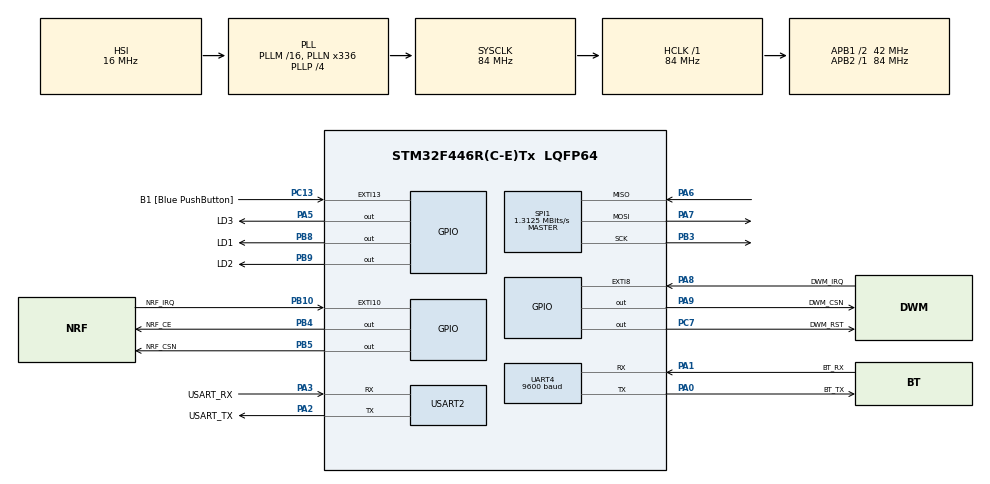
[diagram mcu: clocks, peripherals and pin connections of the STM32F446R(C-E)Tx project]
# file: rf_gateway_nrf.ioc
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Mcu.Family=STM32F4
Mcu.Name=STM32F446R(C-E)Tx
Mcu.Package=LQFP64
NVIC.PriorityGroup=NVIC_PRIORITYGROUP_0
NVIC.SPI1_IRQn=true\:0\:0\:false\:false\:true\:true\:true\:true
NVIC.UART4_IRQn=true\:0\:0\:false\:false\:true\:true\:true\:true
NVIC.USART2_IRQn=true\:0\:0\:false\:false\:true\:true\:true\:true
PA0-WKUP.GPIO_Label=BT_TX
PA0-WKUP.Mode=Asynchronous
PA0-WKUP.Signal=UART4_TX
PA1.GPIO_Label=BT_RX
PA1.Mode=Asynchronous
PA1.Signal=UART4_RX
PA13.GPIO_Label=TMS
PA13.Mode=Serial_Wire
PA13.Signal=SYS_JTMS-SWDIO
PA14.GPIO_Label=TCK
PA14.Mode=Serial_Wire
PA14.Signal=SYS_JTCK-SWCLK
PA2.GPIO_Label=USART_TX
PA2.Mode=Asynchronous
PA2.Signal=USART2_TX
PA3.GPIO_Label=USART_RX
PA3.Mode=Asynchronous
PA3.Signal=USART2_RX
PA5.GPIO_Label=LD3
PA5.Signal=GPIO_Output
PA6.Mode=Full_Duplex_Master
PA6.Signal=SPI1_MISO
PA7.Mode=Full_Duplex_Master
PA7.Signal=SPI1_MOSI
PA8.GPIO_Label=DWM_IRQ
PA8.Signal=GPXTI8
PA9.GPIO_Label=DWM_CSN
PA9.Signal=GPIO_Output
PB10.GPIO_Label=NRF_IRQ
PB10.Signal=GPXTI10
PB3.Mode=Full_Duplex_Master
PB3.Signal=SPI1_SCK
PB4.GPIO_Label=NRF_CE
PB4.Signal=GPIO_Output
PB5.GPIO_Label=NRF_CSN
PB5.Signal=GPIO_Output
PB8.GPIO_Label=LD1
PB8.Signal=GPIO_Output
PB9.GPIO_Label=LD2
PB9.Signal=GPIO_Output
PC13.GPIO_Label=B1 [Blue PushButton]
PC13.GPIO_ModeDefaultEXTI=GPIO_MODE_IT_FALLING
PC13.Signal=GPXTI13
PC14-OSC32_IN.Signal=RCC_OSC32_IN
PC15-OSC32_OUT.Signal=RCC_OSC32_OUT
PC7.GPIO_Label=DWM_RST
PC7.Signal=GPIO_Output
PH0-OSC_IN.Signal=RCC_OSC_IN
PH1-OSC_OUT.Signal=RCC_OSC_OUT
ProjectManager.HeapSize=0x200
ProjectManager.StackSize=0x400
ProjectManager.TargetToolchain=STM32CubeIDE
RCC.48MHZClocksFreq_Value=84000000
RCC.AHBFreq_Value=84000000
RCC.APB1CLKDivider=RCC_HCLK_DIV2
RCC.APB1Freq_Value=42000000
RCC.APB1TimFreq_Value=84000000
RCC.APB2Freq_Value=84000000
RCC.APB2TimFreq_Value=84000000
RCC.CortexFreq_Value=84000000
RCC.FLatency-AdvancedSettings=FLASH_LATENCY_2
RCC.HCLKFreq_Value=84000000
RCC.HSE_VALUE=8000000
RCC.HSI_VALUE=16000000
RCC.PLLN=336
RCC.PLLP=RCC_PLLP_DIV4
RCC.SYSCLKFreq_VALUE=84000000
RCC.SYSCLKSource=RCC_SYSCLKSOURCE_PLLCLK
RCC.USBFreq_Value=168000000
RCC.VCOOutputFreq_Value=336000000
SPI1.BaudRatePrescaler=SPI_BAUDRATEPRESCALER_64
SPI1.CalculateBaudRate=1.3125 MBits/s
SPI1.Direction=SPI_DIRECTION_2LINES
SPI1.Mode=SPI_MODE_MASTER
SPI1.VirtualType=VM_MASTER
UART4.BaudRate=9600
UART4.VirtualMode=Asynchronous
USART2.VirtualMode=VM_ASYNC
board=NUCLEO-F446RE

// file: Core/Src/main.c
/* USER CODE BEGIN Header */
/**
  ******************************************************************************
  * @file           : main.c
  * @brief          : Main program body
  ******************************************************************************
  * @attention
  *
  * Copyright (c) 2022 STMicroelectronics.
  * All rights reserved.
  *
  * This software is licensed under terms that can be found in the LICENSE file
  * in the root directory of this software component.
  * If no LICENSE file comes with this software, it is provided AS-IS.
  *
  ******************************************************************************
  */
/* USER CODE END Header */
#include "main.h"

/* USER CODE BEGIN Includes */
#include "MY_NRF24.h"
#include "stdio.h"
#include "string.h"
/* USER CODE END Includes */

/* USER CODE BEGIN PD */
#define UART_BUFFER 256
#define PAYLOAD_SIZE 32
/* USER CODE END PD */

 SPI_HandleTypeDef hspi1;

UART_HandleTypeDef huart4;
UART_HandleTypeDef huart2;

/* USER CODE BEGIN PV */

//NRF
char RxUARTBuffer[UART_BUFFER], Txdata[UART_BUFFER], TxBuffer[PAYLOAD_SIZE];

uint8_t RxUARTLength=0, RxSingleByte, dataFlag = 0;
uint64_t TxAddress = 0x11223344AA;

/* USER CODE END PV */

void SystemClock_Config(void);
static void MX_GPIO_Init(void);
static void MX_USART2_UART_Init(void);
static void MX_SPI1_Init(void);
static void MX_UART4_Init(void);
/* USER CODE BEGIN PFP */
void serialWrite(char data[]);
void HAL_UART_RxCpltCallback(UART_HandleTypeDef *huart);

void clearString(char * str, int len);
/* USER CODE END PFP */

int main(void)
{

  /* MCU Configuration--------------------------------------------------------*/

  /* Reset of all peripherals, Initializes the Flash interface and the Systick. */
  HAL_Init();

  /* Configure the system clock */
  SystemClock_Config();

  /* Initialize all configured peripherals */
  MX_GPIO_Init();
  MX_USART2_UART_Init();
  MX_SPI1_Init();
  MX_UART4_Init();
  /* USER CODE BEGIN 2 */

  // SET DWM NSS TO 0
  //UART
  	__HAL_UART_ENABLE_IT(&huart2, UART_IT_TC);
  	__HAL_UART_ENABLE_IT(&huart2, UART_IT_RXNE);
  	HAL_UART_Receive_IT(&huart2, &RxSingleByte, 1);
  	serialWrite("Gateway running");
  //**** TRANSMITTER ****//

    NRF24_begin(GPIOB, NRF_CSN_Pin, NRF_CE_Pin, hspi1);
   // nrf24_DebugUART_Init(huart2);
   // printRadioSettings();

    NRF24_stopListening();

    NRF24_openWritingPipe(TxAddress);

    NRF24_setAutoAck(false);
    NRF24_setChannel(83);
    NRF24_setPayloadSize(PAYLOAD_SIZE);
    NRF24_setPALevel(RF24_PA_m6dB);
    NRF24_setDataRate(RF24_2MBPS);

   // printRadioSettings();
    //printStatusReg();

  /* USER CODE END 2 */

  /* Infinite loop */
  /* USER CODE BEGIN WHILE */
    uint8_t buffer_index =0;
    while (1)
    {
  	  if (dataFlag == 1) {
  		  buffer_index = 0;
  		  for (int i = 0; i< UART_BUFFER; i++) {

  			  TxBuffer[buffer_index++] = Txdata[i];

  			  if (Txdata[i]=='\0' || Txdata[i]==';' || buffer_index == PAYLOAD_SIZE ||i == (UART_BUFFER-1)) {
  				  if(Txdata[i]==';') TxBuffer[buffer_index-1] ='\0';

  				  NRF24_write(TxBuffer, PAYLOAD_SIZE);

  				  clearString(TxBuffer, PAYLOAD_SIZE);
  				  buffer_index = 0;
  				  if (Txdata[i]=='\0') break;
  				  HAL_Delay(1);
  			  }

  		  }

  		  clearString(Txdata, UART_BUFFER);
  		  dataFlag = 0;
  	  }
      /* USER CODE END WHILE */

    }
}

void SystemClock_Config(void)
{
  RCC_OscInitTypeDef RCC_OscInitStruct = {0};
  RCC_ClkInitTypeDef RCC_ClkInitStruct = {0};

  /** Configure the main internal regulator output voltage
  */
  __HAL_RCC_PWR_CLK_ENABLE();
  __HAL_PWR_VOLTAGESCALING_CONFIG(PWR_REGULATOR_VOLTAGE_SCALE3);

  /** Initializes the RCC Oscillators according to the specified parameters
  * in the RCC_OscInitTypeDef structure.
  */
  RCC_OscInitStruct.OscillatorType = RCC_OSCILLATORTYPE_HSI;
  RCC_OscInitStruct.HSIState = RCC_HSI_ON;
  RCC_OscInitStruct.HSICalibrationValue = RCC_HSICALIBRATION_DEFAULT;
  RCC_OscInitStruct.PLL.PLLState = RCC_PLL_ON;
  RCC_OscInitStruct.PLL.PLLSource = RCC_PLLSOURCE_HSI;
  RCC_OscInitStruct.PLL.PLLM = 16;
  RCC_OscInitStruct.PLL.PLLN = 336;
  RCC_OscInitStruct.PLL.PLLP = RCC_PLLP_DIV4;
  RCC_OscInitStruct.PLL.PLLQ = 2;
  RCC_OscInitStruct.PLL.PLLR = 2;
  if (HAL_RCC_OscConfig(&RCC_OscInitStruct) != HAL_OK)
  {
    Error_Handler();
  }

  /** Initializes the CPU, AHB and APB buses clocks
  */
  RCC_ClkInitStruct.ClockType = RCC_CLOCKTYPE_HCLK|RCC_CLOCKTYPE_SYSCLK
                              |RCC_CLOCKTYPE_PCLK1|RCC_CLOCKTYPE_PCLK2;
  RCC_ClkInitStruct.SYSCLKSource = RCC_SYSCLKSOURCE_PLLCLK;
  RCC_ClkInitStruct.AHBCLKDivider = RCC_SYSCLK_DIV1;
  RCC_ClkInitStruct.APB1CLKDivider = RCC_HCLK_DIV2;
  RCC_ClkInitStruct.APB2CLKDivider = RCC_HCLK_DIV1;

  if (HAL_RCC_ClockConfig(&RCC_ClkInitStruct, FLASH_LATENCY_2) != HAL_OK)
  {
    Error_Handler();
  }
}

static void MX_SPI1_Init(void)
{

  /* SPI1 parameter configuration*/
  hspi1.Instance = SPI1;
  hspi1.Init.Mode = SPI_MODE_MASTER;
  hspi1.Init.Direction = SPI_DIRECTION_2LINES;
  hspi1.Init.DataSize = SPI_DATASIZE_8BIT;
  hspi1.Init.CLKPolarity = SPI_POLARITY_LOW;
  hspi1.Init.CLKPhase = SPI_PHASE_1EDGE;
  hspi1.Init.NSS = SPI_NSS_SOFT;
  hspi1.Init.BaudRatePrescaler = SPI_BAUDRATEPRESCALER_64;
  hspi1.Init.FirstBit = SPI_FIRSTBIT_MSB;
  hspi1.Init.TIMode = SPI_TIMODE_DISABLE;
  hspi1.Init.CRCCalculation = SPI_CRCCALCULATION_DISABLE;
  hspi1.Init.CRCPolynomial = 10;
  if (HAL_SPI_Init(&hspi1) != HAL_OK)
  {
    Error_Handler();
  }

}

static void MX_UART4_Init(void)
{

  huart4.Instance = UART4;
  huart4.Init.BaudRate = 9600;
  huart4.Init.WordLength = UART_WORDLENGTH_8B;
  huart4.Init.StopBits = UART_STOPBITS_1;
  huart4.Init.Parity = UART_PARITY_NONE;
  huart4.Init.Mode = UART_MODE_TX_RX;
  huart4.Init.HwFlowCtl = UART_HWCONTROL_NONE;
  huart4.Init.OverSampling = UART_OVERSAMPLING_16;
  if (HAL_UART_Init(&huart4) != HAL_OK)
  {
    Error_Handler();
  }

}

static void MX_USART2_UART_Init(void)
{

  huart2.Instance = USART2;
  huart2.Init.BaudRate = 115200;
  huart2.Init.WordLength = UART_WORDLENGTH_8B;
  huart2.Init.StopBits = UART_STOPBITS_1;
  huart2.Init.Parity = UART_PARITY_NONE;
  huart2.Init.Mode = UART_MODE_TX_RX;
  huart2.Init.HwFlowCtl = UART_HWCONTROL_NONE;
  huart2.Init.OverSampling = UART_OVERSAMPLING_16;
  if (HAL_UART_Init(&huart2) != HAL_OK)
  {
    Error_Handler();
  }

}

static void MX_GPIO_Init(void)
{
  GPIO_InitTypeDef GPIO_InitStruct = {0};

  /* GPIO Ports Clock Enable */
  __HAL_RCC_GPIOC_CLK_ENABLE();
  __HAL_RCC_GPIOH_CLK_ENABLE();
  __HAL_RCC_GPIOA_CLK_ENABLE();
  __HAL_RCC_GPIOB_CLK_ENABLE();

  /*Configure GPIO pin Output Level */
  HAL_GPIO_WritePin(GPIOA, LD3_Pin|DWM_CSN_Pin, GPIO_PIN_RESET);

  /*Configure GPIO pin Output Level */
  HAL_GPIO_WritePin(DWM_RST_GPIO_Port, DWM_RST_Pin, GPIO_PIN_RESET);

  /*Configure GPIO pin Output Level */
  HAL_GPIO_WritePin(GPIOB, NRF_CE_Pin|NRF_CSN_Pin|LD1_Pin|LD2_Pin, GPIO_PIN_RESET);

  /*Configure GPIO pin : B1_Pin */
  GPIO_InitStruct.Pin = B1_Pin;
  GPIO_InitStruct.Mode = GPIO_MODE_IT_FALLING;
  GPIO_InitStruct.Pull = GPIO_NOPULL;
  HAL_GPIO_Init(B1_GPIO_Port, &GPIO_InitStruct);

  /*Configure GPIO pins : LD3_Pin DWM_CSN_Pin */
  GPIO_InitStruct.Pin = LD3_Pin|DWM_CSN_Pin;
  GPIO_InitStruct.Mode = GPIO_MODE_OUTPUT_PP;
  GPIO_InitStruct.Pull = GPIO_NOPULL;
  GPIO_InitStruct.Speed = GPIO_SPEED_FREQ_LOW;
  HAL_GPIO_Init(GPIOA, &GPIO_InitStruct);

  /*Configure GPIO pin : NRF_IRQ_Pin */
  GPIO_InitStruct.Pin = NRF_IRQ_Pin;
  GPIO_InitStruct.Mode = GPIO_MODE_IT_RISING;
  GPIO_InitStruct.Pull = GPIO_NOPULL;
  HAL_GPIO_Init(NRF_IRQ_GPIO_Port, &GPIO_InitStruct);

  /*Configure GPIO pin : DWM_RST_Pin */
  GPIO_InitStruct.Pin = DWM_RST_Pin;
  GPIO_InitStruct.Mode = GPIO_MODE_OUTPUT_PP;
  GPIO_InitStruct.Pull = GPIO_NOPULL;
  GPIO_InitStruct.Speed = GPIO_SPEED_FREQ_LOW;
  HAL_GPIO_Init(DWM_RST_GPIO_Port, &GPIO_InitStruct);

  /*Configure GPIO pin : DWM_IRQ_Pin */
  GPIO_InitStruct.Pin = DWM_IRQ_Pin;
  GPIO_InitStruct.Mode = GPIO_MODE_IT_RISING;
  GPIO_InitStruct.Pull = GPIO_NOPULL;
  HAL_GPIO_Init(DWM_IRQ_GPIO_Port, &GPIO_InitStruct);

  /*Configure GPIO pins : NRF_CE_Pin NRF_CSN_Pin LD1_Pin LD2_Pin */
  GPIO_InitStruct.Pin = NRF_CE_Pin|NRF_CSN_Pin|LD1_Pin|LD2_Pin;
  GPIO_InitStruct.Mode = GPIO_MODE_OUTPUT_PP;
  GPIO_InitStruct.Pull = GPIO_NOPULL;
  GPIO_InitStruct.Speed = GPIO_SPEED_FREQ_LOW;
  HAL_GPIO_Init(GPIOB, &GPIO_InitStruct);

}

/* USER CODE BEGIN 4 */
void serialWrite(char data[]){
	HAL_UART_Transmit(&huart2, (uint8_t *) data, strlen(data), 10);
	HAL_UART_Transmit(&huart2,(uint8_t *)"\n",1,10);
}

void serialProcessRxData(){

	if(dataFlag == 0) {
		for (int i = 0; i < RxUARTLength; i++)
			Txdata[i] = RxUARTBuffer[i];
		dataFlag = 1;
		serialWrite(Txdata);
		serialWrite("OK");
	}
	else serialWrite("NOK");

	clearString(RxUARTBuffer, UART_BUFFER);

	RxUARTLength = 0;
}

void HAL_UART_RxCpltCallback(UART_HandleTypeDef *huart)
{
	if(huart->Instance == USART2){
		if(RxSingleByte == '\n')
			serialProcessRxData();
		else RxUARTBuffer[RxUARTLength++] = RxSingleByte;

		if (RxUARTLength == UART_BUFFER)
			serialProcessRxData();

		HAL_UART_Receive_IT(&huart2, &RxSingleByte, 1);
	}
}

void clearString(char * str, int len) {
	for(int i = 0; i< len; i++)
		str[i] = '\0';
}
/* USER CODE END 4 */

void Error_Handler(void)
{
  /* USER CODE BEGIN Error_Handler_Debug */
  /* User can add his own implementation to report the HAL error return state */
  __disable_irq();
  while (1)
  {
	  serialWrite("err");
	  HAL_Delay(1000);
  }
  /* USER CODE END Error_Handler_Debug */
}
